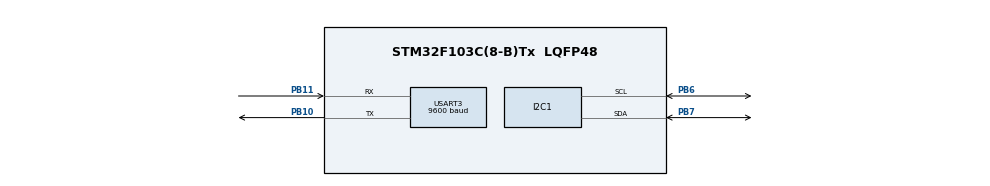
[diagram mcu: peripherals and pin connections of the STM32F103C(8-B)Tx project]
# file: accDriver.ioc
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I2C1.I2C_Mode=I2C_Fast
Mcu.Family=STM32F1
Mcu.Name=STM32F103C(8-B)Tx
Mcu.Package=LQFP48
NVIC.PriorityGroup=NVIC_PRIORITYGROUP_4
NVIC.USART3_IRQn=true\:0\:0\:false\:false\:true\:true\:true\:true
PA13.Mode=Serial_Wire
PA13.Signal=SYS_JTMS-SWDIO
PA14.Mode=Serial_Wire
PA14.Signal=SYS_JTCK-SWCLK
PB10.Mode=Asynchronous
PB10.Signal=USART3_TX
PB11.Mode=Asynchronous
PB11.Signal=USART3_RX
PB6.Mode=I2C
PB6.Signal=I2C1_SCL
PB7.Mode=I2C
PB7.Signal=I2C1_SDA
ProjectManager.HeapSize=0x200
ProjectManager.StackSize=0x400
ProjectManager.TargetToolchain=STM32CubeIDE
RCC.APB1Freq_Value=8000000
RCC.APB2Freq_Value=8000000
USART3.BaudRate=9600
USART3.VirtualMode=VM_ASYNC
board=custom

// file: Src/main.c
/* USER CODE BEGIN Header */
/**
  ******************************************************************************
  * @file           : main.c
  * @brief          : Main program body
  ******************************************************************************
  * @attention
  *
  * Copyright (c) 2025 STMicroelectronics.
  * All rights reserved.
  *
  * This software is licensed under terms that can be found in the LICENSE file
  * in the root directory of this software component.
  * If no LICENSE file comes with this software, it is provided AS-IS.
  *
  ******************************************************************************
  */
/* USER CODE END Header */
#include "main.h"

/* USER CODE BEGIN Includes */
#include "fonts.h"
#include "ssd1306.h"
#include "mpu6050.h"
#include <stdio.h>
#include <math.h>
/* USER CODE END Includes */

I2C_HandleTypeDef hi2c1;

UART_HandleTypeDef huart3;

void SystemClock_Config(void);
static void MX_GPIO_Init(void);
static void MX_I2C1_Init(void);
static void MX_USART3_UART_Init(void);

int main(void)
{

  /* MCU Configuration--------------------------------------------------------*/

  /* Reset of all peripherals, Initializes the Flash interface and the Systick. */
  HAL_Init();

  /* Configure the system clock */
  SystemClock_Config();

  /* Initialize all configured peripherals */
  MX_GPIO_Init();
  MX_I2C1_Init();
  MX_USART3_UART_Init();
  /* USER CODE BEGIN 2 */
  mpu6050_t mpu6050 = MPU6050_Init(&hi2c1);
  StepCounter step_counter;
  StepCounter_Init(&step_counter);
  SSD1306_Init();

  HAL_Delay(100); // Allow sensor to stabilize
  MPU6050_Reset_FIFO(&mpu6050);
  HAL_Delay(50);
  MPU6050_configure_Fifo(&mpu6050);
  HAL_Delay(50);
  MPU6050_Enable_FIFO(&mpu6050);
  HAL_Delay(100); // Allow FIFO to fill

  // To get Raw values for calibration use corresponding functions in driver.
  float offsetXYZ[3] = {188.75, 240, 3361.5}; // enter your values
  float scaleXYZ[3] = {16358.75, 16312.67, 16721.5}; // enter your values
  MPU6050_Set_Accel_Offset_Scale(&mpu6050, offsetXYZ, scaleXYZ);

  //HAL_UART_Receive_IT(&huart3, config, 4);

  /* USER CODE END 2 */

  /* Infinite loop */
  while (1)
  {

  }
}

void SystemClock_Config(void)
{
  RCC_OscInitTypeDef RCC_OscInitStruct = {0};
  RCC_ClkInitTypeDef RCC_ClkInitStruct = {0};

  /** Initializes the RCC Oscillators according to the specified parameters
  * in the RCC_OscInitTypeDef structure.
  */
  RCC_OscInitStruct.OscillatorType = RCC_OSCILLATORTYPE_HSI;
  RCC_OscInitStruct.HSIState = RCC_HSI_ON;
  RCC_OscInitStruct.HSICalibrationValue = RCC_HSICALIBRATION_DEFAULT;
  RCC_OscInitStruct.PLL.PLLState = RCC_PLL_NONE;
  if (HAL_RCC_OscConfig(&RCC_OscInitStruct) != HAL_OK)
  {
    Error_Handler();
  }

  /** Initializes the CPU, AHB and APB buses clocks
  */
  RCC_ClkInitStruct.ClockType = RCC_CLOCKTYPE_HCLK|RCC_CLOCKTYPE_SYSCLK
                              |RCC_CLOCKTYPE_PCLK1|RCC_CLOCKTYPE_PCLK2;
  RCC_ClkInitStruct.SYSCLKSource = RCC_SYSCLKSOURCE_HSI;
  RCC_ClkInitStruct.AHBCLKDivider = RCC_SYSCLK_DIV1;
  RCC_ClkInitStruct.APB1CLKDivider = RCC_HCLK_DIV1;
  RCC_ClkInitStruct.APB2CLKDivider = RCC_HCLK_DIV1;

  if (HAL_RCC_ClockConfig(&RCC_ClkInitStruct, FLASH_LATENCY_0) != HAL_OK)
  {
    Error_Handler();
  }
}

static void MX_I2C1_Init(void)
{

  hi2c1.Instance = I2C1;
  hi2c1.Init.ClockSpeed = 400000;
  hi2c1.Init.DutyCycle = I2C_DUTYCYCLE_2;
  hi2c1.Init.OwnAddress1 = 0;
  hi2c1.Init.AddressingMode = I2C_ADDRESSINGMODE_7BIT;
  hi2c1.Init.DualAddressMode = I2C_DUALADDRESS_DISABLE;
  hi2c1.Init.OwnAddress2 = 0;
  hi2c1.Init.GeneralCallMode = I2C_GENERALCALL_DISABLE;
  hi2c1.Init.NoStretchMode = I2C_NOSTRETCH_DISABLE;
  if (HAL_I2C_Init(&hi2c1) != HAL_OK)
  {
    Error_Handler();
  }

}

static void MX_USART3_UART_Init(void)
{

  huart3.Instance = USART3;
  huart3.Init.BaudRate = 9600;
  huart3.Init.WordLength = UART_WORDLENGTH_8B;
  huart3.Init.StopBits = UART_STOPBITS_1;
  huart3.Init.Parity = UART_PARITY_NONE;
  huart3.Init.Mode = UART_MODE_TX_RX;
  huart3.Init.HwFlowCtl = UART_HWCONTROL_NONE;
  huart3.Init.OverSampling = UART_OVERSAMPLING_16;
  if (HAL_UART_Init(&huart3) != HAL_OK)
  {
    Error_Handler();
  }

}

static void MX_GPIO_Init(void)
{

  /* GPIO Ports Clock Enable */
  __HAL_RCC_GPIOB_CLK_ENABLE();
  __HAL_RCC_GPIOA_CLK_ENABLE();

}

/* USER CODE BEGIN 4 */
void HAL_UART_RxCpltCallback(UART_HandleTypeDef *huart) {
    if (huart->Instance == USART3) {
        // Echo received config
        HAL_UART_Transmit(&huart3, (uint8_t*)"Received: ", 10, 100);
        //HAL_UART_Transmit(&huart3, config, 4, 100);
        HAL_UART_Transmit(&huart3, (uint8_t*)"\r\n", 2, 100);

        // to call interrupt again
        //HAL_UART_Receive_IT(&huart3, config, 4);
    }
}

/* USER CODE END 4 */

void Error_Handler(void)
{
  __disable_irq();
  while (1)
  {
  }
}
